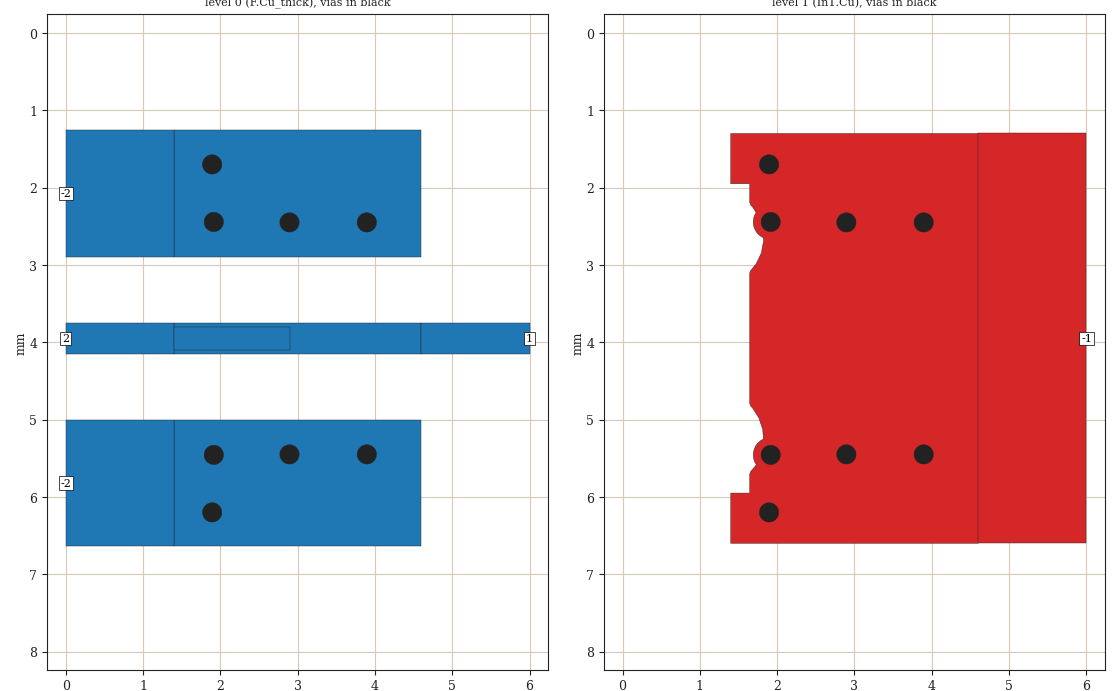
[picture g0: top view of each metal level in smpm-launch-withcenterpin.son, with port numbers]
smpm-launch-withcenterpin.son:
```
FTYP SONPROJ 19 ! Sonnet Project File
VER 18.56
HEADER
LIC antikernel2.1.51813
DAT 11/21/2022 22:59:12
BUILT_BY_CREATED xgeom 18.54 09/23/2022 20:17:08
BUILT_BY_SAVED sonnet 18.56
MDATE 11/21/2022 21:33:40
HDATE 11/21/2022 21:33:40
ANN Created by dxfgeo, Sonnet Software Inc.
END HEADER
DIM
ANG DEG
CAP FF
CON /OH
FREQ GHZ
IND PH
LNG MM
RES OH
END DIM
CONTROL
VARSWP
OPTIONS  -dj
SPEED 0
CACHE_ABS 2
Q_ACC N
END CONTROL
GEO
DRP1 LEFT LINK
POLY 110 1
0
DRP1 RIGHT LINK
POLY 114 1
0
TMET "Free Space" 0 FREESPACE 376.7303136 0 0 0
BMET "Free Space" 0 FREESPACE 376.7303136 0 0 0
MET "Copper_1oz+plated_thick_up" 1 TMM 58000000 0.5 0.0432 2
MET "Copper_1oz+plated_thin" 4 NOR 58000000 0.5 0.0432 
MET "Copper_0.5oz_thin" 2 NOR 58000000 0.5 0.0175 
MET "Copper_1oz+plated_thick_down" 3 TMM 58000000 0.5 0.0432 2 CDVY TDWN
MET "Pin" 5 TMM 58000000 0.5 0.3 4
MET "Copper 35um" 1 VOL 58000000 0.035
BOX 4 6 8 480 640 20 0
      10 1 1 0 0 0 0 "Air"
      0.2021 3.61 1 0.0092 0 0 0 "Isola_FR408HR"
      1.1938 3.61 1 0.0092 0 0 0 "Isola_FR408HR"
      0.2021 3.61 1 0.0092 0 0 0 "Isola_FR408HR"
      10 1 1 0 0 0 0 "Air"
TECHLAY VIA Via1 L3D0 -7 -65534 CAD Via1 drawing 
VIA POLYGON
0 0 5 N 173 1 1 100 100 0 0 0 Y
TOLEVEL 3 RING NOCOVERS
END
END
TECHLAY METAL F.Cu_thick L1D0 -1 -65534 CAD F.Cu drawing 
0 0 0 N 45 1 1 100 100 0 0 0 Y
END
END
TECHLAY METAL F.Cu_thin <UNSPECIFIED> -2 -65534 CAD F.Cu_thin drawing 
0 0 1 N 47 1 1 100 100 0 0 0 Y
END
END
TECHLAY METAL Pin <UNSPECIFIED> -8 0 
0 0 4 N 158 1 1 100 100 0 0 0 Y
END
END
TECHLAY METAL In1.Cu L2D0 -3 -65534 CAD In1.Cu drawing 
1 0 2 N 50 1 1 100 100 0 0 0 Y
END
END
TECHLAY METAL In2.Cu <UNSPECIFIED> -4 -65534 CAD In2.Cu drawing 
2 0 2 N 53 1 1 100 100 0 0 0 Y
END
END
TECHLAY METAL B.Cu_thick <UNSPECIFIED> -5 -65534 CAD B.Cu drawing 
3 0 3 N 56 1 1 100 100 0 0 0 Y
END
END
TECHLAY METAL B.Cu_thin <UNSPECIFIED> -6 -65534 CAD B.Cu_thin drawing 
3 0 1 N 58 1 1 100 100 0 0 0 Y
END
END
LORGN 0 8 U 
POR1 BOX
POLY 110 1
2
2 50 0 0 0 0 3.95 
POR1 BOX
POLY 114 1
2
1 50 0 0 0 6 3.95 
POR1 BOX
POLY 120 1
2
-2 50 0 0 0 0 2.08 
POR1 BOX
POLY 125 1
2
-2 50 0 0 0 0 5.82 
POR1 BOX
POLY 130 1
2
-1 50 0 0 0 6 3.95 
NUM 18
VIA POLYGON
0 53 5 N 14 1 1 100 100 0 0 0 Y
TOLEVEL 3 RING NOCOVERS
TLAYNAM Via1 INH
USER_DAT FromImport
1.895 6.325
1.871 6.323
1.859 6.32
1.847 6.315
1.836 6.31
1.826 6.304
1.816 6.297
1.798 6.279
1.791 6.269
1.785 6.259
1.78 6.248
1.775 6.236
1.772 6.224
1.77 6.2
1.772 6.176
1.775 6.164
1.78 6.152
1.785 6.141
1.791 6.131
1.798 6.121
1.816 6.103
1.826 6.096
1.836 6.09
1.847 6.085
1.859 6.08
1.871 6.077
1.895 6.075
1.919 6.077
1.931 6.08
1.943 6.085
1.954 6.09
1.964 6.096
1.974 6.103
1.992 6.121
1.999 6.131
2.005 6.141
2.01 6.152
2.015 6.164
2.018 6.176
2.02 6.2
2.018 6.224
2.015 6.236
2.01 6.248
2.005 6.259
1.999 6.269
1.992 6.279
1.974 6.297
1.964 6.304
1.954 6.31
1.943 6.315
1.931 6.32
1.919 6.323
1.895 6.325
END
VIA POLYGON
0 53 5 N 16 1 1 100 100 0 0 0 Y
TOLEVEL 3 RING NOCOVERS
TLAYNAM Via1 INH
USER_DAT FromImport
1.916 5.581
1.892 5.579
1.88 5.576
1.868 5.571
1.857 5.566
1.847 5.56
1.837 5.553
1.819 5.535
1.812 5.525
1.806 5.515
1.801 5.504
1.796 5.492
1.793 5.48
1.791 5.456
1.793 5.432
1.796 5.42
1.801 5.408
1.806 5.397
1.812 5.387
1.819 5.377
1.837 5.359
1.847 5.352
1.857 5.346
1.868 5.341
1.88 5.336
1.892 5.333
1.916 5.331
1.94 5.333
1.952 5.336
1.964 5.341
1.975 5.346
1.985 5.352
1.995 5.359
2.013 5.377
2.02 5.387
2.026 5.397
2.031 5.408
2.036 5.42
2.039 5.432
2.041 5.456
2.039 5.48
2.036 5.492
2.031 5.504
2.026 5.515
2.02 5.525
2.013 5.535
1.995 5.553
1.985 5.56
1.975 5.566
1.964 5.571
1.952 5.576
1.94 5.579
1.916 5.581
END
VIA POLYGON
0 53 5 N 17 1 1 100 100 0 0 0 Y
TOLEVEL 3 RING NOCOVERS
TLAYNAM Via1 INH
USER_DAT FromImport
2.895 5.575
2.871 5.573
2.859 5.57
2.847 5.565
2.836 5.56
2.826 5.554
2.816 5.547
2.798 5.529
2.791 5.519
2.785 5.509
2.78 5.498
2.775 5.486
2.772 5.474
2.77 5.45
2.772 5.426
2.775 5.414
2.78 5.402
2.785 5.391
2.791 5.381
2.798 5.371
2.816 5.353
2.826 5.346
2.836 5.34
2.847 5.335
2.859 5.33
2.871 5.327
2.895 5.325
2.919 5.327
2.931 5.33
2.943 5.335
2.954 5.34
2.964 5.346
2.974 5.353
2.992 5.371
2.999 5.381
3.005 5.391
3.01 5.402
3.015 5.414
3.018 5.426
3.02 5.45
3.018 5.474
3.015 5.486
3.01 5.498
3.005 5.509
2.999 5.519
2.992 5.529
2.974 5.547
2.964 5.554
2.954 5.56
2.943 5.565
2.931 5.57
2.919 5.573
2.895 5.575
END
VIA POLYGON
0 53 5 N 18 1 1 100 100 0 0 0 Y
TOLEVEL 3 RING NOCOVERS
TLAYNAM Via1 INH
USER_DAT FromImport
3.895 5.575
3.871 5.573
3.859 5.57
3.847 5.565
3.836 5.56
3.826 5.554
3.816 5.547
3.798 5.529
3.791 5.519
3.785 5.509
3.78 5.498
3.775 5.486
3.772 5.474
3.77 5.45
3.772 5.426
3.775 5.414
3.78 5.402
3.785 5.391
3.791 5.381
3.798 5.371
3.816 5.353
3.826 5.346
3.836 5.34
3.847 5.335
3.859 5.33
3.871 5.327
3.895 5.325
3.919 5.327
3.931 5.33
3.943 5.335
3.954 5.34
3.964 5.346
3.974 5.353
3.992 5.371
3.999 5.381
4.005 5.391
4.01 5.402
4.015 5.414
4.018 5.426
4.02 5.45
4.018 5.474
4.015 5.486
4.01 5.498
4.005 5.509
3.999 5.519
3.992 5.529
3.974 5.547
3.964 5.554
3.954 5.56
3.943 5.565
3.931 5.57
3.919 5.573
3.895 5.575
END
VIA POLYGON
0 53 5 N 20 1 1 100 100 0 0 0 Y
TOLEVEL 3 RING NOCOVERS
TLAYNAM Via1 INH
USER_DAT FromImport
2.895 2.575
2.871 2.573
2.859 2.57
2.847 2.565
2.836 2.56
2.826 2.554
2.816 2.547
2.798 2.529
2.791 2.519
2.785 2.509
2.78 2.498
2.775 2.486
2.772 2.474
2.77 2.45
2.772 2.426
2.775 2.414
2.78 2.402
2.785 2.391
2.791 2.381
2.798 2.371
2.816 2.353
2.826 2.346
2.836 2.34
2.847 2.335
2.859 2.33
2.871 2.327
2.895 2.325
2.919 2.327
2.931 2.33
2.943 2.335
2.954 2.34
2.964 2.346
2.974 2.353
2.992 2.371
2.999 2.381
3.005 2.391
3.01 2.402
3.015 2.414
3.018 2.426
3.02 2.45
3.018 2.474
3.015 2.486
3.01 2.498
3.005 2.509
2.999 2.519
2.992 2.529
2.974 2.547
2.964 2.554
2.954 2.56
2.943 2.565
2.931 2.57
2.919 2.573
2.895 2.575
END
VIA POLYGON
0 53 5 N 21 1 1 100 100 0 0 0 Y
TOLEVEL 3 RING NOCOVERS
TLAYNAM Via1 INH
USER_DAT FromImport
3.895 2.575
3.871 2.573
3.859 2.57
3.847 2.565
3.836 2.56
3.826 2.554
3.816 2.547
3.798 2.529
3.791 2.519
3.785 2.509
3.78 2.498
3.775 2.486
3.772 2.474
3.77 2.45
3.772 2.426
3.775 2.414
3.78 2.402
3.785 2.391
3.791 2.381
3.798 2.371
3.816 2.353
3.826 2.346
3.836 2.34
3.847 2.335
3.859 2.33
3.871 2.327
3.895 2.325
3.919 2.327
3.931 2.33
3.943 2.335
3.954 2.34
3.964 2.346
3.974 2.353
3.992 2.371
3.999 2.381
4.005 2.391
4.01 2.402
4.015 2.414
4.018 2.426
4.02 2.45
4.018 2.474
4.015 2.486
4.01 2.498
4.005 2.509
3.999 2.519
3.992 2.529
3.974 2.547
3.964 2.554
3.954 2.56
3.943 2.565
3.931 2.57
3.919 2.573
3.895 2.575
END
VIA POLYGON
0 53 5 N 22 1 1 100 100 0 0 0 Y
TOLEVEL 3 RING NOCOVERS
TLAYNAM Via1 INH
USER_DAT FromImport
1.916 2.569
1.892 2.567
1.88 2.564
1.868 2.559
1.857 2.554
1.847 2.548
1.837 2.541
1.819 2.523
1.812 2.513
1.806 2.503
1.801 2.492
1.796 2.48
1.793 2.468
1.791 2.444
1.793 2.42
1.796 2.408
1.801 2.396
1.806 2.385
1.812 2.375
1.819 2.365
1.837 2.347
1.847 2.34
1.857 2.334
1.868 2.329
1.88 2.324
1.892 2.321
1.916 2.319
1.94 2.321
1.952 2.324
1.964 2.329
1.975 2.334
1.985 2.34
1.995 2.347
2.013 2.365
2.02 2.375
2.026 2.385
2.031 2.396
2.036 2.408
2.039 2.42
2.041 2.444
2.039 2.468
2.036 2.48
2.031 2.492
2.026 2.503
2.02 2.513
2.013 2.523
1.995 2.541
1.985 2.548
1.975 2.554
1.964 2.559
1.952 2.564
1.94 2.567
1.916 2.569
END
VIA POLYGON
0 53 5 N 29 1 1 100 100 0 0 0 Y
TOLEVEL 3 RING NOCOVERS
TLAYNAM Via1 INH
USER_DAT FromImport
1.895 1.825
1.871 1.823
1.859 1.82
1.847 1.815
1.836 1.81
1.826 1.804
1.816 1.797
1.798 1.779
1.791 1.769
1.785 1.759
1.78 1.748
1.775 1.736
1.772 1.724
1.77 1.7
1.772 1.676
1.775 1.664
1.78 1.652
1.785 1.641
1.791 1.631
1.798 1.621
1.816 1.603
1.826 1.596
1.836 1.59
1.847 1.585
1.859 1.58
1.871 1.577
1.895 1.575
1.919 1.577
1.931 1.58
1.943 1.585
1.954 1.59
1.964 1.596
1.974 1.603
1.992 1.621
1.999 1.631
2.005 1.641
2.01 1.652
2.015 1.664
2.018 1.676
2.02 1.7
2.018 1.724
2.015 1.736
2.01 1.748
2.005 1.759
1.999 1.769
1.992 1.779
1.974 1.797
1.964 1.804
1.954 1.81
1.943 1.815
1.931 1.82
1.919 1.823
1.895 1.825
END
0 5 0 N 82 1 1 100 100 0 0 0 Y
TLAYNAM F.Cu_thick INH
USER_DAT FromImport
4.6 1.26
1.4 1.26
1.4 2.9
4.6 2.9
4.6 1.26
END
0 7 0 N 83 1 1 100 100 0 0 0 Y
TLAYNAM F.Cu_thick INH
USER_DAT FromImport
4.6 5
1.6 5
1.6 5
1.4 5
1.4 6.64
4.6 6.64
4.6 5
END
0 5 0 N 84 1 1 100 100 0 0 0 Y
TLAYNAM F.Cu_thick INH
USER_DAT FromImport
4.6 3.75
1.4 3.75
1.4 4.15
4.6 4.15
4.6 3.75
END
0 5 0 N 110 1 1 100 100 0 0 0 Y
TLAYNAM F.Cu_thick INH
1.4 3.75
1.4 4.15
0 4.15
0 3.75
1.4 3.75
END
0 5 0 N 114 1 1 100 100 0 0 0 Y
TLAYNAM F.Cu_thick INH
4.6 4.15
4.6 3.75
6 3.75
6 4.15
4.6 4.15
END
0 5 0 N 120 1 1 100 100 0 0 0 Y
TLAYNAM F.Cu_thick INH
1.4 1.26
1.4 2.9
0 2.9
0 1.26
1.4 1.26
END
0 5 0 N 125 1 1 100 100 0 0 0 Y
TLAYNAM F.Cu_thick INH
1.4 5
1.4 6.64
0 6.64
0 5
1.4 5
END
0 5 4 N 160 1 1 100 100 0 0 0 Y
TLAYNAM Pin INH
1.4 3.8
2.9 3.8
2.9 4.1
1.4 4.1
1.4 3.8
END
1 65 2 N 85 1 1 100 100 0 0 0 Y
TLAYNAM In1.Cu INH
USER_DAT FromImport
4.6 1.3
1.4 1.3
1.4 1.95
1.645 1.95
1.645 2.193
1.66 2.229
1.681 2.248
1.727 2.322
1.723 2.328
1.713 2.348
1.704 2.368
1.698 2.389
1.693 2.411
1.691 2.433
1.691 2.455
1.693 2.477
1.698 2.499
1.704 2.52
1.713 2.54
1.723 2.56
1.735 2.578
1.749 2.595
1.765 2.611
1.782 2.625
1.8 2.637
1.82 2.647
1.821 2.648
1.824 2.69
1.795 2.845
1.727 2.988
1.725 2.99
1.656 3.074
1.645 3.105
1.645 4.793
1.66 4.829
1.681 4.848
1.765 4.982
1.814 5.132
1.822 5.252
1.8 5.263
1.782 5.275
1.765 5.289
1.749 5.305
1.735 5.322
1.723 5.34
1.713 5.36
1.704 5.38
1.698 5.401
1.693 5.423
1.691 5.445
1.691 5.467
1.693 5.489
1.698 5.511
1.704 5.532
1.713 5.552
1.723 5.572
1.73 5.582
1.727 5.588
1.656 5.674
1.645 5.705
1.645 5.95
1.4 5.95
1.4 6.6
4.6 6.6
4.6 1.3
END
1 5 2 N 130 1 1 100 100 0 0 0 Y
TLAYNAM In1.Cu INH
4.6 6.6
4.6 1.3
6 1.3
6 6.6
4.6 6.6
END
END GEO
OPT
MAX 100
END OPT
VARSWP
ENABLED Y
FREQ Y AY ABS_ENTRY 0.1 16.0 -1 300 
END
END VARSWP
```
